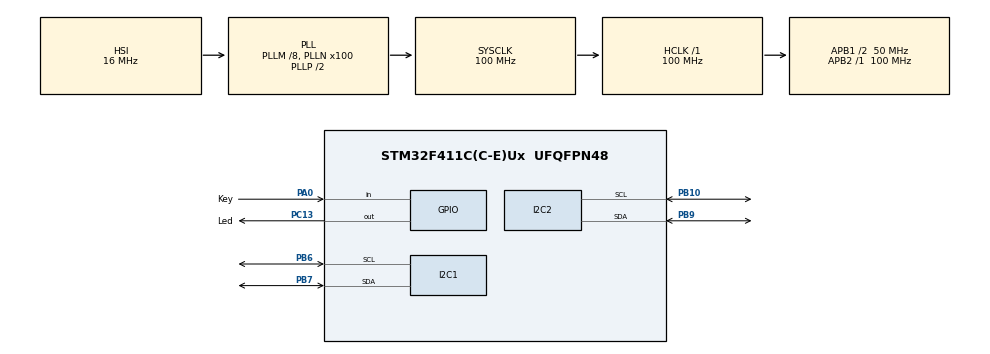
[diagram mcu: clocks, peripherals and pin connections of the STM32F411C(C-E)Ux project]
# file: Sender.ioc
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I2C2.GeneralCallMode=I2C_GENERALCALL_DISABLE
I2C2.OwnAddress=0x13
Mcu.Family=STM32F4
Mcu.Name=STM32F411C(C-E)Ux
Mcu.Package=UFQFPN48
NVIC.I2C2_ER_IRQn=true\:0\:0\:false\:true\:true\:2\:true\:true\:true
NVIC.I2C2_EV_IRQn=true\:0\:0\:false\:true\:true\:1\:true\:true\:true
NVIC.PriorityGroup=NVIC_PRIORITYGROUP_4
NVIC.RCC_IRQn=true\:0\:0\:false\:false\:true\:true\:false\:true
PA0-WKUP.GPIO_Label=Key
PA0-WKUP.GPIO_PuPd=GPIO_PULLUP
PA0-WKUP.Signal=GPIO_Input
PA13.Mode=Serial_Wire
PA13.Signal=SYS_JTMS-SWDIO
PA14.Mode=Serial_Wire
PA14.Signal=SYS_JTCK-SWCLK
PB10.GPIO_Pu=GPIO_NOPULL
PB10.Mode=I2C
PB10.Signal=I2C2_SCL
PB6.GPIO_Pu=GPIO_PULLUP
PB6.Mode=I2C
PB6.Signal=I2C1_SCL
PB7.GPIO_Pu=GPIO_PULLUP
PB7.Mode=I2C
PB7.Signal=I2C1_SDA
PB9.GPIO_Pu=GPIO_NOPULL
PB9.Mode=I2C
PB9.Signal=I2C2_SDA
PC13-ANTI_TAMP.GPIO_Label=Led
PC13-ANTI_TAMP.PinState=GPIO_PIN_SET
PC13-ANTI_TAMP.Signal=GPIO_Output
PH0\ -\ OSC_IN.Mode=HSE-External-Oscillator
PH0\ -\ OSC_IN.Signal=RCC_OSC_IN
PH1\ -\ OSC_OUT.Mode=HSE-External-Oscillator
PH1\ -\ OSC_OUT.Signal=RCC_OSC_OUT
ProjectManager.HeapSize=0x200
ProjectManager.StackSize=0x400
ProjectManager.TargetToolchain=STM32CubeIDE
RCC.48MHZClocksFreq_Value=50000000
RCC.AHBFreq_Value=100000000
RCC.APB1CLKDivider=RCC_HCLK_DIV2
RCC.APB1Freq_Value=50000000
RCC.APB1TimFreq_Value=100000000
RCC.APB2Freq_Value=100000000
RCC.APB2TimFreq_Value=100000000
RCC.CortexFreq_Value=100000000
RCC.HCLKFreq_Value=100000000
RCC.HSE_VALUE=25000000
RCC.HSI_VALUE=16000000
RCC.LSE_VALUE=32768
RCC.PLLM=8
RCC.PLLN=100
RCC.SYSCLKFreq_VALUE=100000000
RCC.SYSCLKSource=RCC_SYSCLKSOURCE_PLLCLK
RCC.VCOOutputFreq_Value=200000000
board=custom

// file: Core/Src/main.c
/* USER CODE BEGIN Header */
/**
 ******************************************************************************
 * @file           : main.c
 * @brief          : Main program body
 ******************************************************************************
 * @attention
 *
 * Copyright (c) 2022 STMicroelectronics.
 * All rights reserved.
 *
 * This software is licensed under terms that can be found in the LICENSE file
 * in the root directory of this software component.
 * If no LICENSE file comes with this software, it is provided AS-IS.
 *
 ******************************************************************************
 */
/* USER CODE END Header */
#include "main.h"

/* USER CODE BEGIN Includes */
#include "stm32f4xx_it.h"
#include "ssd1306.h"
#include "ssd1306_tests.h"
#include "ssd1306_fonts.h"
#include <stdbool.h>
/* USER CODE END Includes */

/* USER CODE BEGIN PTD */

#define I2C_ADDRESSO 0x48

#define display_start 0x00
#define display_panel_1 0x01
#define display_panel_2 0x02
#define display_panel_3 0x03
#define download 0x09
volatile uint8_t isDownload = 0;
volatile uint16_t download_index = 0;
#define display_xbm 0x10
volatile uint8_t status_display = display_start;

volatile uint8_t xbm_width = 128;
volatile uint8_t xbm_height = 64;
volatile uint8_t xbm_data[1024] =
{  0x00, 0x00, 0x00, 0x00, 0x00, 0x00, 0x00, 0x00, 0x00, 0x00, 0x00, 0x00, 0x00,
		0x00, 0x00, 0x00, 0x00, 0x00, 0x00, 0x00, 0x00, 0x00, 0x00, 0x00, 0x00,
		0x00, 0x00, 0x00, 0x00, 0x00, 0x00, 0x00, 0x00, 0x00, 0x00, 0x00, 0x00,
		0x00, 0x00, 0x00, 0x00, 0x00, 0x00, 0x00, 0x00, 0x00, 0x00, 0x00, 0x00,
		0x00, 0x00, 0x00, 0x00, 0x00, 0x00, 0x00, 0x00, 0x00, 0x00, 0x00, 0x00,
		0x00, 0x00, 0x00, 0x00, 0x00, 0x00, 0x00, 0x00, 0x00, 0x00, 0x00, 0x00,
		0x00, 0x00, 0x00, 0x00, 0x00, 0x00, 0x00, 0x00, 0x00, 0x00, 0x00, 0x00,
		0x00, 0x00, 0x00, 0x00, 0x00, 0x00, 0x00, 0x00, 0x00, 0x00, 0x00, 0x00,
		0x00, 0x00, 0x00, 0x00, 0x00, 0x00, 0x50, 0x0a, 0x00, 0x00, 0x00, 0x00,
		0x00, 0x00, 0x00, 0x00, 0x00, 0x00, 0x00, 0x00, 0x00, 0x00, 0x02, 0xa0,
		0x00, 0x00, 0x00, 0x00, 0x00, 0x00, 0x00, 0x00, 0x00, 0x00, 0x00, 0x00,
		0x00, 0x40, 0x24, 0x09, 0x02, 0x00, 0x00, 0x00, 0x00, 0x00, 0x00, 0x00,
		0x00, 0x00, 0x00, 0x00, 0x00, 0x10, 0x01, 0x40, 0x08, 0x00, 0x00, 0x00,
		0x00, 0x00, 0x00, 0x00, 0x00, 0x00, 0x00, 0x00, 0x00, 0x40, 0x00, 0x10,
		0x11, 0x00, 0x00, 0x00, 0x00, 0x00, 0x00, 0x00, 0x00, 0x00, 0x00, 0x00,
		0x00, 0x14, 0x00, 0x00, 0x24, 0x00, 0x00, 0x00, 0x00, 0x00, 0x00, 0x00,
		0x00, 0x00, 0x00, 0x00, 0x00, 0x81, 0x00, 0x80, 0x48, 0x00, 0x00, 0x00,
		0x00, 0x00, 0x00, 0x00, 0x00, 0x00, 0x00, 0x00, 0x00, 0x0a, 0x00, 0x00,
		0x80, 0x00, 0x00, 0x00, 0x00, 0x00, 0x00, 0x00, 0x00, 0x00, 0x00, 0x00,
		0x80, 0x20, 0x00, 0x00, 0x2a, 0x01, 0x00, 0x00, 0x00, 0x00, 0x00, 0x00,
		0x00, 0x00, 0x00, 0x48, 0x40, 0x85, 0x00, 0x80, 0x40, 0x02, 0x24, 0x00,
		0x00, 0x00, 0x00, 0x00, 0x00, 0x00, 0x00, 0x84, 0x40, 0x10, 0x00, 0x00,
		0x88, 0x02, 0x01, 0x00, 0x00, 0x00, 0x00, 0x00, 0x00, 0x00, 0x00, 0x50,
		0x21, 0x45, 0x00, 0x00, 0x11, 0x85, 0x4a, 0x00, 0x00, 0x00, 0x00, 0x00,
		0x00, 0x00, 0x00, 0x82, 0x40, 0x12, 0x22, 0x24, 0xa4, 0x84, 0x00, 0x00,
		0x00, 0x00, 0x00, 0x00, 0x00, 0x00, 0x00, 0x91, 0xa2, 0x88, 0x08, 0x81,
		0x40, 0x22, 0xd5, 0x00, 0x00, 0x00, 0x00, 0x00, 0x00, 0x00, 0x80, 0x24,
		0x29, 0x25, 0x40, 0x28, 0x2a, 0x45, 0x02, 0x01, 0x00, 0x00, 0x00, 0x00,
		0x00, 0x00, 0x40, 0x55, 0xa2, 0x80, 0x0a, 0x82, 0x80, 0xaa, 0x74, 0x03,
		0x00, 0x00, 0x00, 0x00, 0x00, 0x00, 0x80, 0x4a, 0x2d, 0x15, 0x50, 0x08,
		0x2a, 0x95, 0x8a, 0x00, 0x00, 0x00, 0x00, 0x00, 0x00, 0x00, 0x80, 0x54,
		0x51, 0x41, 0x85, 0xa2, 0x40, 0x89, 0xaa, 0x01, 0x00, 0x00, 0x00, 0x00,
		0x00, 0x00, 0x00, 0xa9, 0xa4, 0x08, 0x20, 0x08, 0x90, 0xa4, 0x4a, 0x00,
		0x00, 0x00, 0x00, 0x00, 0x00, 0x00, 0x00, 0x53, 0x09, 0x01, 0x80, 0x02,
		0x80, 0x92, 0xaa, 0x00, 0x00, 0x00, 0x00, 0x00, 0x00, 0x00, 0x00, 0x80,
		0xb2, 0x04, 0x2a, 0x48, 0x02, 0x25, 0x00, 0x00, 0x00, 0x00, 0x00, 0x00,
		0x00, 0x00, 0x00, 0x00, 0x20, 0xd1, 0x84, 0x92, 0x14, 0x09, 0x00, 0x00,
		0x00, 0x00, 0x00, 0x00, 0x00, 0x00, 0x00, 0x00, 0x40, 0xf4, 0x2b, 0xd1,
		0x57, 0x02, 0x00, 0x00, 0x00, 0x00, 0x00, 0x00, 0x00, 0x00, 0x00, 0x00,
		0x40, 0xfe, 0x4f, 0xea, 0x3f, 0x01, 0x00, 0x00, 0x00, 0x00, 0x00, 0x00,
		0x00, 0x00, 0x00, 0x00, 0x40, 0xda, 0x1b, 0xf4, 0x5f, 0x02, 0x00, 0x00,
		0x00, 0x00, 0x00, 0x00, 0x00, 0x00, 0x00, 0x00, 0x40, 0x6e, 0x5f, 0x5a,
		0xb5, 0x02, 0x00, 0x00, 0x00, 0x00, 0x00, 0x00, 0x00, 0x00, 0x00, 0x00,
		0x80, 0xfa, 0x2a, 0xf4, 0x6f, 0x00, 0x00, 0x00, 0x00, 0x00, 0x00, 0x00,
		0x00, 0x00, 0x00, 0x00, 0x40, 0xde, 0x2f, 0xb4, 0x3f, 0x01, 0x00, 0x00,
		0x00, 0x00, 0x00, 0x00, 0x00, 0x00, 0x00, 0x00, 0x20, 0xb4, 0x0a, 0x69,
		0x35, 0x04, 0x00, 0x00, 0x00, 0x00, 0x00, 0x00, 0x00, 0x00, 0x00, 0x00,
		0x00, 0xdc, 0xc5, 0x41, 0x1b, 0x04, 0x00, 0x00, 0x00, 0x00, 0x00, 0x00,
		0x00, 0x00, 0x00, 0x00, 0x40, 0x28, 0x50, 0x4b, 0x2a, 0x02, 0x00, 0x00,
		0x00, 0x00, 0x00, 0x00, 0x00, 0x00, 0x00, 0x00, 0x00, 0x40, 0xe5, 0x27,
		0x00, 0x00, 0x00, 0x00, 0x00, 0x00, 0x00, 0x00, 0x00, 0x00, 0x00, 0x00,
		0x40, 0x10, 0x62, 0x43, 0x05, 0x01, 0x00, 0x00, 0x00, 0x00, 0x00, 0x00,
		0x00, 0x00, 0x00, 0x00, 0x00, 0xc5, 0xe4, 0x4e, 0x51, 0x00, 0x00, 0x00,
		0x00, 0x00, 0x00, 0x00, 0x00, 0x00, 0x00, 0x00, 0x00, 0x91, 0xe2, 0x87,
		0x8a, 0x00, 0x00, 0x00, 0x00, 0x00, 0x00, 0x00, 0x00, 0x00, 0x00, 0x00,
		0x40, 0xb4, 0x68, 0x13, 0x16, 0x01, 0x00, 0x00, 0x00, 0x00, 0x00, 0x00,
		0x00, 0x00, 0x00, 0x00, 0x90, 0x52, 0x82, 0xa0, 0xaa, 0x0a, 0x00, 0x00,
		0x00, 0x00, 0x00, 0x00, 0x00, 0x00, 0x00, 0x40, 0x25, 0xe5, 0x08, 0x04,
		0x25, 0x51, 0x21, 0x00, 0x00, 0x00, 0x00, 0x00, 0x00, 0x00, 0x00, 0x15,
		0x28, 0x44, 0x52, 0x29, 0x13, 0x0a, 0x4a, 0x00, 0x00, 0x00, 0x00, 0x00,
		0x00, 0x00, 0x00, 0x40, 0x45, 0xa5, 0x04, 0x40, 0x62, 0x54, 0x81, 0x00,
		0x00, 0x00, 0x00, 0x00, 0x00, 0x00, 0x80, 0x8a, 0x8a, 0x44, 0x50, 0x15,
		0x95, 0xa1, 0x14, 0x01, 0x00, 0x00, 0x00, 0x00, 0x00, 0x00, 0xc0, 0x50,
		0x25, 0x88, 0x02, 0x40, 0x20, 0x52, 0xa3, 0x03, 0x00, 0x00, 0x00, 0x00,
		0x00, 0x00, 0x00, 0xd5, 0x12, 0x48, 0x08, 0x10, 0x09, 0x84, 0x4e, 0x00,
		0x00, 0x00, 0x00, 0x00, 0x00, 0x00, 0x00, 0x2a, 0x08, 0x00, 0x21, 0x42,
		0x02, 0x50, 0x58, 0x00, 0x00, 0x00, 0x00, 0x00, 0x00, 0x00, 0x00, 0x94,
		0x02, 0x50, 0x04, 0x28, 0x08, 0x20, 0x22, 0x00, 0x00, 0x00, 0x00, 0x00,
		0x00, 0x00, 0x00, 0x24, 0x05, 0x00, 0x49, 0x82, 0x02, 0x40, 0x29, 0x00,
		0x00, 0x00, 0x00, 0x00, 0x00, 0x00, 0x00, 0x54, 0x01, 0x20, 0x12, 0x29,
		0x04, 0x80, 0x12, 0x00, 0x00, 0x00, 0x00, 0x00, 0x00, 0x00, 0x00, 0xa8,
		0x00, 0x40, 0xa9, 0x4a, 0x01, 0x00, 0x0d, 0x00, 0x00, 0x00, 0x00, 0x00,
		0x00, 0x00, 0x00, 0x00, 0x00, 0x00, 0xa4, 0x14, 0x01, 0x00, 0x00, 0x00,
		0x00, 0x00, 0x00, 0x00, 0x00, 0x00, 0x00, 0x00, 0x00, 0x00, 0x09, 0x41,
		0x00, 0x00, 0x00, 0x00, 0x00, 0x00, 0x00, 0x00, 0x00, 0x00, 0x00, 0x00,
		0x00, 0x00, 0x22, 0x14, 0x00, 0x00, 0x00, 0x00, 0x00, 0x00, 0x00, 0x00,
		0x00, 0x00, 0x00, 0x00, 0x00, 0x00, 0xc8, 0x25, 0x00, 0x00, 0x00, 0x00,
		0x00, 0x00, 0x00, 0x00, 0x00, 0x00, 0x00, 0x00, 0x00, 0x00, 0x00, 0x00,
		0x00, 0x00, 0x00, 0x00, 0x00, 0x00, 0x00, 0x00, 0x00, 0x00, 0x00, 0x00,
		0x00, 0x00, 0x00, 0x00, 0x00, 0x00, 0x00, 0x00, 0x00, 0x00, 0x00, 0x00,
		0x00, 0x00, 0x00, 0x00, 0x00, 0x00, 0x00, 0x00, 0x00, 0x00, 0x00, 0x00,
		0x00, 0x00, 0x00, 0x00, 0x00, 0x00, 0x00, 0x00, 0x00, 0x00, 0x00, 0x00,
		0x00, 0x00, 0x00, 0x00, 0x00, 0x00, 0x00, 0x00, 0x00, 0x00, 0x00, 0x00,
		0x00, 0x00, 0x00, 0x00, 0x00, 0x00, 0x00, 0x00, 0x00, 0x00, 0x00, 0x00,
		0x00, 0x00, 0x00, 0x00, 0x00, 0x00, 0x00, 0x00, 0x00, 0x00, 0x00, 0x00,
		0x00, 0x00, 0x00 };

/* USER CODE END PTD */

I2C_HandleTypeDef hi2c1;

/* USER CODE BEGIN PV */
void I2C2_EV_IRQHandler(void)
{
	/* USER CODE BEGIN I2C2_EV_IRQn 0 */
	/* USER CODE END I2C2_EV_IRQn 0 */
	/* USER CODE BEGIN I2C2_EV_IRQn 1 */
	/* Check ADDR flag value in ISR register */
	if (LL_I2C_IsActiveFlag_ADDR(I2C2))
	{
		/* Verify the transfer direction, a write direction, Slave enters receiver mode */
		if (LL_I2C_GetTransferDirection(I2C2) == LL_I2C_DIRECTION_WRITE) //主机读
		{
			/* Enable Buffer Interrupts */
			LL_I2C_EnableIT_BUF(I2C2);
			/* Clear ADDR flag value in ISR register */
			LL_I2C_ClearFlag_ADDR(I2C2);
		}
		else if (LL_I2C_GetTransferDirection(I2C2) == LL_I2C_DIRECTION_READ) //主机写
		{
			/* Enable Buffer Interrupts */
			LL_I2C_EnableIT_BUF(I2C2);
			/* Clear ADDR flag value in ISR register */
			LL_I2C_ClearFlag_ADDR(I2C2);
		}
		else
		{
			/* Clear ADDR flag value in ISR register */
			LL_I2C_ClearFlag_ADDR(I2C2);
		}
	}
	/* Check TXE flag value in ISR register */
	if (LL_I2C_IsActiveFlag_TXE(I2C2))
	{
		//LL_I2C_TransmitData8(I2C2, aTXBuffer[ubTXIndex++]);
	}
	/* Check BTF flag value in ISR register */
	if (LL_I2C_IsActiveFlag_BTF(I2C2))
	{
		//LL_I2C_TransmitData8(I2C2, aTXBuffer[ubTXIndex++]);
	}
	/* Check RXNE flag value in ISR register */
	if (LL_I2C_IsActiveFlag_RXNE(I2C2))
	{
		/* Call function Slave Reception Callback */
		uint8_t temp = LL_I2C_ReceiveData8(I2C2);
		if (isDownload == 1)
		{
			if (download_index < 1024 - 1)
			{
				xbm_data[download_index] = temp;
				download_index++;
			}
			else
			{
				download_index = 0;
				isDownload = 0;
			}
		}
		else
		{
			switch (temp)
			{
			case 0x01:
				status_display = 0x01;
				break;
			case 0x02:
				status_display = 0x02;
				break;
			case 0x03:
				status_display = 0x03;
				break;
			case 0x09:
				isDownload = 1;
				break;
			case display_xbm:
				status_display = display_xbm;
				break;
			default:
				status_display = 0x00;
				break;
			}
			temp = 0;
		}
	}
	/* Check BTF flag value in ISR register */
	if (LL_I2C_IsActiveFlag_BTF(I2C1))
	{
		/* Call function Slave Reception Callback */
	}
	/* Check STOP flag value in ISR register */
	if (LL_I2C_IsActiveFlag_STOP(I2C2))
	{
		/* Clear STOP flag value in ISR register */
		LL_I2C_ClearFlag_STOP(I2C2);
	}
	/* USER CODE END I2C2_EV_IRQn 1 */
}
/* USER CODE END PV */

void SystemClock_Config(void);
static void MX_GPIO_Init(void);
static void MX_I2C1_Init(void);
static void MX_I2C2_Init(void);
static void MX_NVIC_Init(void);

int main(void)
{

	/* MCU Configuration--------------------------------------------------------*/

	/* Reset of all peripherals, Initializes the Flash interface and the Systick. */
	HAL_Init();

	/* Configure the system clock */
	SystemClock_Config();

	/* Initialize all configured peripherals */
	MX_GPIO_Init();
	MX_I2C1_Init();
	MX_I2C2_Init();

	/* Initialize interrupts */
	MX_NVIC_Init();
	/* USER CODE BEGIN 2 */
	ssd1306_Init();
	ssd1306_SetContrast(0x00);
	/* USER CODE END 2 */

	/* Infinite loop */
	/* USER CODE BEGIN WHILE */

	HAL_Delay(1000);
	while (1)
	{
		if (isDownload == 0)
		{
			ssd1306_Fill(Black);
			switch (status_display)
			{
			case display_start:
			{
				ssd1306_SetCursor(36, 0);
				ssd1306_WriteString("no service", Font_6x8, 1);
				break;
			}
			case display_panel_1:
			{
				ssd1306_SetCursor(32, 0);
				ssd1306_WriteString("panel_1", Font_6x8, 1);
				break;
			}
			case display_panel_2:
			{
				ssd1306_SetCursor(32, 0);
				ssd1306_WriteString("panel_2", Font_6x8, 1);
				break;
			}
			case display_panel_3:
			{
				ssd1306_SetCursor(32, 0);
				ssd1306_WriteString("panel_3", Font_6x8, 1);
				break;
			}
			case display_xbm:
			{
				ssd1306_DrawBitmap(0, 0, xbm_data, xbm_width, xbm_height, 1);
				break;
			}
			default:
				break;
			}
			ssd1306_UpdateScreen();
			HAL_Delay(1000);
		}
		/* USER CODE END WHILE */

	}
}

void SystemClock_Config(void)
{
	RCC_OscInitTypeDef RCC_OscInitStruct =
	{ 0 };
	RCC_ClkInitTypeDef RCC_ClkInitStruct =
	{ 0 };

	/** Configure the main internal regulator output voltage
	 */
	__HAL_RCC_PWR_CLK_ENABLE();
	__HAL_PWR_VOLTAGESCALING_CONFIG(PWR_REGULATOR_VOLTAGE_SCALE1);

	/** Initializes the RCC Oscillators according to the specified parameters
	 * in the RCC_OscInitTypeDef structure.
	 */
	RCC_OscInitStruct.OscillatorType = RCC_OSCILLATORTYPE_HSI;
	RCC_OscInitStruct.HSIState = RCC_HSI_ON;
	RCC_OscInitStruct.HSICalibrationValue = RCC_HSICALIBRATION_DEFAULT;
	RCC_OscInitStruct.PLL.PLLState = RCC_PLL_ON;
	RCC_OscInitStruct.PLL.PLLSource = RCC_PLLSOURCE_HSI;
	RCC_OscInitStruct.PLL.PLLM = 8;
	RCC_OscInitStruct.PLL.PLLN = 100;
	RCC_OscInitStruct.PLL.PLLP = RCC_PLLP_DIV2;
	RCC_OscInitStruct.PLL.PLLQ = 4;
	if (HAL_RCC_OscConfig(&RCC_OscInitStruct) != HAL_OK)
	{
		Error_Handler();
	}

	/** Initializes the CPU, AHB and APB buses clocks
	 */
	RCC_ClkInitStruct.ClockType = RCC_CLOCKTYPE_HCLK | RCC_CLOCKTYPE_SYSCLK
			| RCC_CLOCKTYPE_PCLK1 | RCC_CLOCKTYPE_PCLK2;
	RCC_ClkInitStruct.SYSCLKSource = RCC_SYSCLKSOURCE_PLLCLK;
	RCC_ClkInitStruct.AHBCLKDivider = RCC_SYSCLK_DIV1;
	RCC_ClkInitStruct.APB1CLKDivider = RCC_HCLK_DIV2;
	RCC_ClkInitStruct.APB2CLKDivider = RCC_HCLK_DIV1;

	if (HAL_RCC_ClockConfig(&RCC_ClkInitStruct, FLASH_LATENCY_3) != HAL_OK)
	{
		Error_Handler();
	}
}

/**
 * @brief NVIC Configuration.
 * @retval None
 */
static void MX_NVIC_Init(void)
{
	/* I2C2_EV_IRQn interrupt configuration */
	NVIC_SetPriority(I2C2_EV_IRQn,
			NVIC_EncodePriority(NVIC_GetPriorityGrouping(), 0, 0));
	NVIC_EnableIRQ(I2C2_EV_IRQn);
	/* I2C2_ER_IRQn interrupt configuration */
	NVIC_SetPriority(I2C2_ER_IRQn,
			NVIC_EncodePriority(NVIC_GetPriorityGrouping(), 0, 0));
	NVIC_EnableIRQ(I2C2_ER_IRQn);
}

static void MX_I2C1_Init(void)
{

	hi2c1.Instance = I2C1;
	hi2c1.Init.ClockSpeed = 100000;
	hi2c1.Init.DutyCycle = I2C_DUTYCYCLE_2;
	hi2c1.Init.OwnAddress1 = 0;
	hi2c1.Init.AddressingMode = I2C_ADDRESSINGMODE_7BIT;
	hi2c1.Init.DualAddressMode = I2C_DUALADDRESS_DISABLE;
	hi2c1.Init.OwnAddress2 = 0;
	hi2c1.Init.GeneralCallMode = I2C_GENERALCALL_DISABLE;
	hi2c1.Init.NoStretchMode = I2C_NOSTRETCH_DISABLE;
	if (HAL_I2C_Init(&hi2c1) != HAL_OK)
	{
		Error_Handler();
	}

}

static void MX_I2C2_Init(void)
{

	LL_I2C_InitTypeDef I2C_InitStruct =
	{ 0 };

	LL_GPIO_InitTypeDef GPIO_InitStruct =
	{ 0 };

	LL_AHB1_GRP1_EnableClock(LL_AHB1_GRP1_PERIPH_GPIOB);
	/**I2C2 GPIO Configuration
	 PB10   ------> I2C2_SCL
	 PB9   ------> I2C2_SDA
	 */
	GPIO_InitStruct.Pin = LL_GPIO_PIN_10;
	GPIO_InitStruct.Mode = LL_GPIO_MODE_ALTERNATE;
	GPIO_InitStruct.Speed = LL_GPIO_SPEED_FREQ_VERY_HIGH;
	GPIO_InitStruct.OutputType = LL_GPIO_OUTPUT_OPENDRAIN;
	GPIO_InitStruct.Pull = LL_GPIO_PULL_NO;
	GPIO_InitStruct.Alternate = LL_GPIO_AF_4;
	LL_GPIO_Init(GPIOB, &GPIO_InitStruct);

	GPIO_InitStruct.Pin = LL_GPIO_PIN_9;
	GPIO_InitStruct.Mode = LL_GPIO_MODE_ALTERNATE;
	GPIO_InitStruct.Speed = LL_GPIO_SPEED_FREQ_VERY_HIGH;
	GPIO_InitStruct.OutputType = LL_GPIO_OUTPUT_OPENDRAIN;
	GPIO_InitStruct.Pull = LL_GPIO_PULL_NO;
	GPIO_InitStruct.Alternate = LL_GPIO_AF_9;
	LL_GPIO_Init(GPIOB, &GPIO_InitStruct);

	/* Peripheral clock enable */
	LL_APB1_GRP1_EnableClock(LL_APB1_GRP1_PERIPH_I2C2);

	/** I2C Initialization
	 */
	LL_I2C_DisableOwnAddress2(I2C2);
	LL_I2C_DisableGeneralCall(I2C2);
	LL_I2C_EnableClockStretching(I2C2);
	I2C_InitStruct.PeripheralMode = LL_I2C_MODE_I2C;
	I2C_InitStruct.ClockSpeed = 100000;
	I2C_InitStruct.DutyCycle = LL_I2C_DUTYCYCLE_2;
	I2C_InitStruct.OwnAddress1 = (I2C_ADDRESSO << 1);
	I2C_InitStruct.TypeAcknowledge = LL_I2C_ACK;
	I2C_InitStruct.OwnAddrSize = LL_I2C_OWNADDRESS1_7BIT;
	LL_I2C_Init(I2C2, &I2C_InitStruct);
	LL_I2C_SetOwnAddress2(I2C2, (I2C_ADDRESSO << 1));
	/* USER CODE BEGIN I2C2_Init 2 */
	LL_I2C_Enable(I2C2);
	LL_I2C_EnableIT_EVT(I2C2);
	//LL_I2C_EnableIT_ERR(I2C2);
	/* USER CODE END I2C2_Init 2 */

}

static void MX_GPIO_Init(void)
{
	GPIO_InitTypeDef GPIO_InitStruct =
	{ 0 };

	/* GPIO Ports Clock Enable */
	__HAL_RCC_GPIOC_CLK_ENABLE();
	__HAL_RCC_GPIOH_CLK_ENABLE();
	__HAL_RCC_GPIOA_CLK_ENABLE();
	__HAL_RCC_GPIOB_CLK_ENABLE();

	/*Configure GPIO pin Output Level */
	HAL_GPIO_WritePin(Led_GPIO_Port, Led_Pin, GPIO_PIN_SET);

	/*Configure GPIO pin : Led_Pin */
	GPIO_InitStruct.Pin = Led_Pin;
	GPIO_InitStruct.Mode = GPIO_MODE_OUTPUT_PP;
	GPIO_InitStruct.Pull = GPIO_NOPULL;
	GPIO_InitStruct.Speed = GPIO_SPEED_FREQ_LOW;
	HAL_GPIO_Init(Led_GPIO_Port, &GPIO_InitStruct);

	/*Configure GPIO pin : Key_Pin */
	GPIO_InitStruct.Pin = Key_Pin;
	GPIO_InitStruct.Mode = GPIO_MODE_INPUT;
	GPIO_InitStruct.Pull = GPIO_PULLUP;
	HAL_GPIO_Init(Key_GPIO_Port, &GPIO_InitStruct);

}

void Error_Handler(void)
{
	__disable_irq();
	while (1)
	{
	}
}
